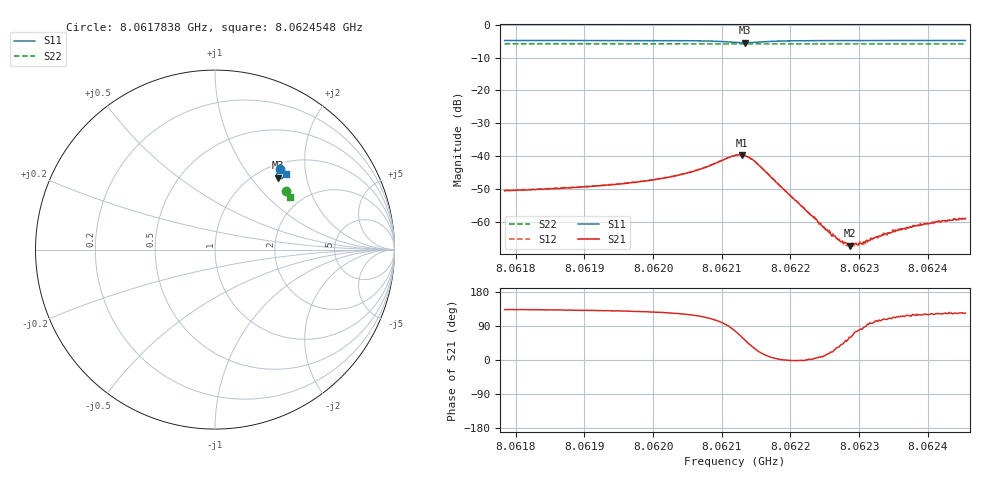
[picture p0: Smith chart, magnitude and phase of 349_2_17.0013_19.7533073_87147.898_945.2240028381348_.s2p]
#  HZ  S  RI  R  50.00
! Rohde & Schwarz Vector Network Analyzer
! Rohde-Schwarz,ZNB20-2Port,1311601062101988,3.16
! Created: UTC 3/20/2024, 11:07:45 PM
! freq[Hz]  re:S11  im:S11  re:S21  im:S21  re:S12  im:S12  re:S22  im:S22
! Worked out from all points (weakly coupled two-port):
!   401 points, 8.0617838 GHz to 8.0624548 GHz, reference 50 ohm
!   highest |S21| = -39.61 dB at 8.0621293 GHz (marker M1); lowest = -67.2 dB at 8.062287 GHz (marker M2)
!   lowest |S11| = -5.5 dB at 8.0621344 GHz (marker M3), VSWR 3.27, Z = 61.3 + j68.6 ohm
!   |S11| at or under -10 dB: nowhere
!   |S22| runs from -5.9 to -5.8 dB; largest |S21 - S12| = 0.0008
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8.06178376e9  0.3632 0.4471  -0.00202 0.00217  -0.00193 0.00233  0.396 0.3245
8.06189615e9  0.3708 0.4405  -0.00223 0.00255  -0.00207 0.00267  0.4002 0.3191
8.06195654e9  0.3752 0.436  -0.0024 0.00296  -0.00227 0.00314  0.4025 0.3161
8.06200854e9  0.3795 0.4308  -0.00264 0.00365  -0.00244 0.00385  0.4042 0.3133
8.06206055e9  0.3838 0.4213  -0.00278 0.00529  -0.00247 0.00547  0.4063 0.3104
8.06211926e9  0.3667 0.395  0.00233 0.00992  0.00294 0.00985  0.4071 0.3067
8.06212932e9  0.3542 0.397  0.0052 0.00907  0.00572 0.00881  0.407 0.3065
8.06213435e9  0.3487 0.4012  0.00627 0.00794  0.00683 0.00764  0.407 0.3066
8.06215113e9  0.3441 0.4205  0.00695 0.00337  0.00714 0.00297  0.4077 0.3066
8.06220313e9  0.3659 0.4358  0.00233 -5.63e-05  0.0023 -0.000232  0.4107 0.3047
8.06223165e9  0.3725 0.4347  0.00122 6e-05  0.00125 -1.27e-05  0.4119 0.3031
8.0622501e9  0.3755 0.4335  0.000799 0.000154  0.000763 9.95e-05  0.4126 0.3021
8.06227023e9  0.3782 0.4322  0.000441 0.000294  0.000457 0.000272  0.4134 0.3012
8.06228029e9  0.3793 0.4315  0.000292 0.000377  0.000291 0.000333  0.4136 0.3004
8.062287e9  0.3802 0.4311  0.000224 0.000373  0.000244 0.000378  0.4141 0.3002
8.06230546e9  0.382 0.43  5.15e-05 0.000463  3.01e-05 0.000485  0.4146 0.2991
8.06232055e9  0.3835 0.4291  -7.99e-05 0.000555  -5.7e-05 0.00056  0.4153 0.2983
8.06234404e9  0.3853 0.4276  -0.000235 0.00063  -0.000201 0.000649  0.416 0.2971
8.06235243e9  0.3861 0.427  -0.000262 0.000662  -0.000281 0.000699  0.4163 0.2968
8.06239101e9  0.389 0.4249  -0.000431 0.000793  -0.000422 0.000803  0.4177 0.2947
8.06241953e9  0.3909 0.4232  -0.000533 0.000864  -0.000484 0.000882  0.4187 0.2932
8.06245475e9  0.3932 0.4212  -0.000631 0.00094  -0.000586 0.000955  0.4199 0.2914
